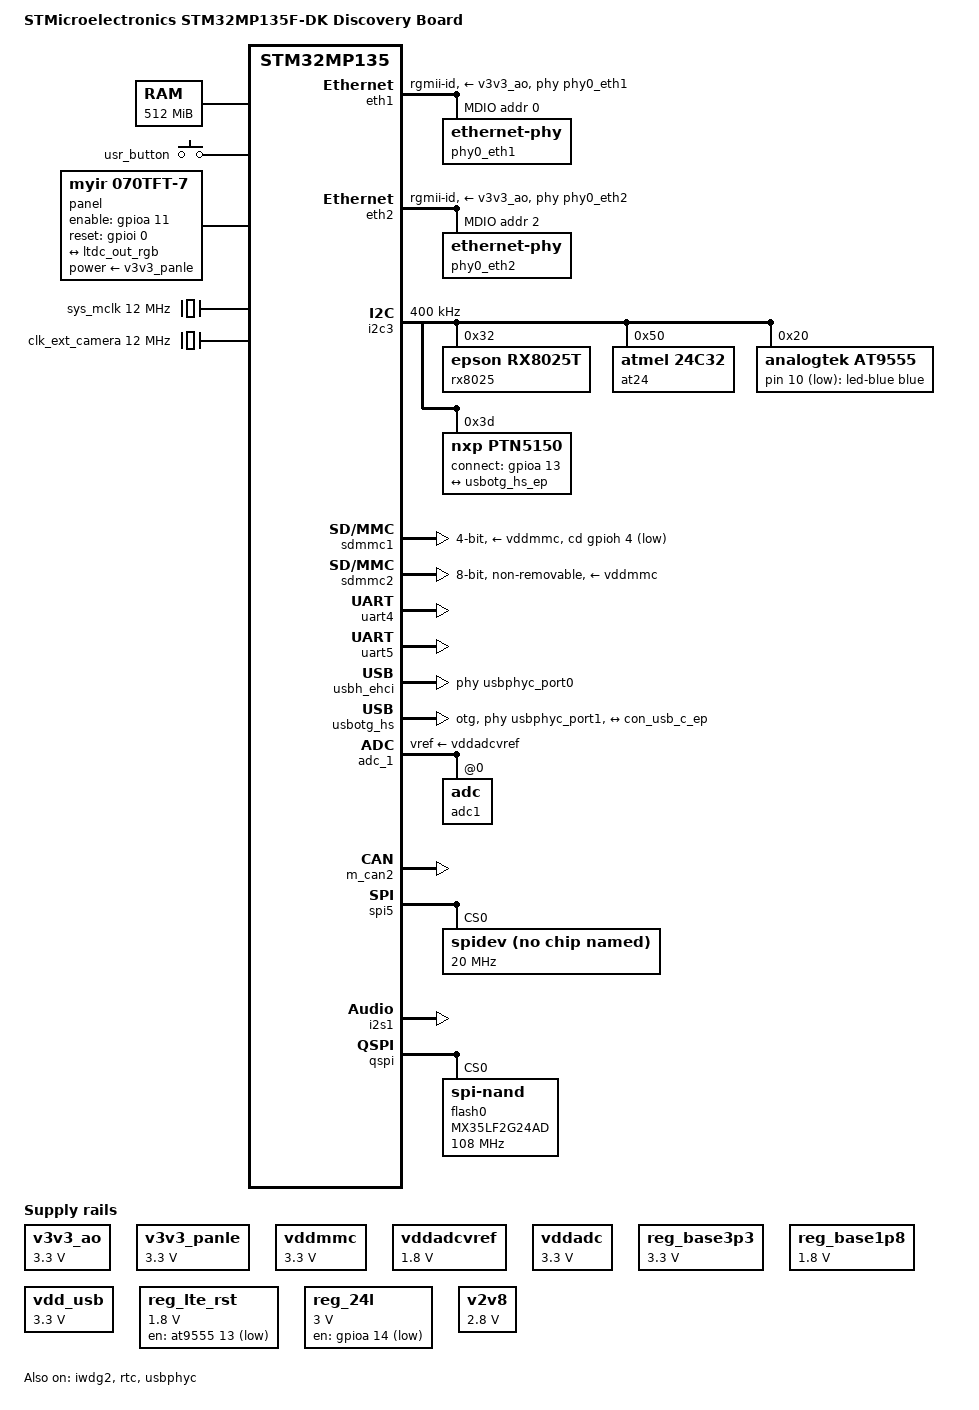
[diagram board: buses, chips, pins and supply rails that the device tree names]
// SPDX-License-Identifier: (GPL-2.0+ OR BSD-3-Clause)
/* 
 * Copyright (C) MYiRTech 2021 - All Rights Reserved
 * Author: Alex for MYiRTech.
 */

/dts-v1/;

#include <dt-bindings/gpio/gpio.h>
#include <dt-bindings/input/input.h>
#include <dt-bindings/leds/common.h>
#include <dt-bindings/rtc/rtc-stm32.h>
#include "stm32mp135.dtsi"
#include "stm32mp13xf.dtsi"
#include "myb-stm32mp13-pinctrl.dtsi"

/ {
	model = "STMicroelectronics STM32MP135F-DK Discovery Board";
	compatible = "st,stm32mp135f-dk", "st,stm32mp135";

	aliases {
		ethernet0 = &eth1;
		ethernet1 = &eth2;
		serial0 = &uart4;
		serial1 = &usart1;
		serial2 = &uart8;
		serial3 = &usart2;
		serial4 = &uart5;
	};

	chosen {
		stdout-path = "serial0:115200n8";
	};

	memory@c0000000 {
		device_type = "memory";
		reg = <0xc0000000 0x20000000>;
	};

	leds {
			compatible = "gpio-leds";
			status = "okay";
			led-blue {
					function = LED_FUNCTION_HEARTBEAT;
					color = <LED_COLOR_ID_BLUE>;
					gpios = <&at9555 10 GPIO_ACTIVE_LOW>;
					linux,default-trigger = "heartbeat";
					default-state = "off";
			};
	};

	joystick {
                compatible = "gpio-keys";
                #size-cells = <0>;
                button-0 {
                         label = "usr_button";
                         linux,code = <KEY_ENTER>;
                         interrupt-parent = <&gpioi>;
                         interrupts = <1 IRQ_TYPE_EDGE_RISING>;
                };
        };

	/*LCD Panel*/
	panel {
		compatible = "myir,070tft-7";
		pinctrl-names = "default", "sleep";
		pinctrl-0 = <&ltdc_pins_a>;
		pinctrl-1 = <&ltdc_pins_sleep_a>;

		power-supply = <&v3v3_panle>;
		enable-gpios = <&gpioa 11 GPIO_ACTIVE_HIGH>;
		reset-gpios = <&gpioi 0 GPIO_ACTIVE_HIGH>;

		//interrupts = <3 IRQ_TYPE_EDG
		//backlight = <&panel_backlight>;
		status = "okay";
		port {
				panel_in_rgb: endpoint {
						remote-endpoint = <&ltdc_out_rgb>; 
				};
		};
	};

	usb_phy_tuning: usb-phy-tuning {
		st,current-boost = <1>;
		st,hs-slew-ctrl;
		st,hs-dc-level = <2>;
		st,hs-rftime-reduction;
		st,hs-current-trim = <11>;
		st,hs-impedance-trim = <2>;
		st,squelch-level = <1>;
		st,hs-rx-gain-eq;
		st,no-hs-ftime-ctrl;
	};

	v3v3_ao: v3v3_ao {
		compatible = "regulator-fixed";
		regulator-name = "v3v3_ao";
		regulator-min-microvolt = <3300000>;
		regulator-max-microvolt = <3300000>;
		regulator-always-on;
	};

	v3v3_panle: v3v3_panle {
		compatible = "regulator-fixed";
		regulator-name = "v3v3_panle";
		regulator-min-microvolt = <3300000>;
		regulator-max-microvolt = <3300000>;
		regulator-always-on;
	};

	vddmmc: fixedregulator@0 {
		compatible = "regulator-fixed";
		regulator-name = "vddmmc";
		regulator-min-microvolt = <3300000>;
		regulator-max-microvolt = <3300000>;
	};

	vddadcvref: fixedregulator@0 {
		compatible = "regulator-fixed";
		regulator-name = "vddadcvref";
		regulator-min-microvolt = <1800000>;
		regulator-max-microvolt = <1800000>;
	};

	vddadc: fixedregulator@0 {
		compatible = "regulator-fixed";
		regulator-name = "vddadc";
		regulator-min-microvolt = <3300000>;
		regulator-max-microvolt = <3300000>;
	};

	reg_base3p3: reg-base3p3 {
		compatible = "regulator-fixed";
		regulator-name = "reg_base3p3";
		regulator-min-microvolt = <3300000>;
		regulator-max-microvolt = <3300000>;
		regulator-always-on;
		regulator-boot-on;
	};

	reg_base1p8: reg-base1p8 {
		compatible = "regulator-fixed";
		regulator-name = "reg_base1p8";
		regulator-min-microvolt = <1800000>;
		regulator-max-microvolt = <1800000>;
		regulator-always-on;
		regulator-boot-on;
	};
	
	vdd_usb: reg-vdd_usb {
		compatible = "regulator-fixed";
		regulator-name = "vdd_usb";
		regulator-min-microvolt = <3300000>;
		regulator-max-microvolt = <3300000>;
		regulator-always-on;
		regulator-boot-on;
	};

        reg_lte_rst: regulator@3 {
                compatible = "regulator-fixed";
                regulator-name = "ltemodule-rst";
                regulator-min-microvolt = <1800000>;
                regulator-max-microvolt = <1800000>;
                gpios = <&at9555 13 GPIO_ACTIVE_HIGH>;
                regulator-always-on;
                regulator-boot-on;
        };

        reg_24l: regulator@4 {
                compatible = "regulator-fixed";
                regulator-name = "24l-wp";
                regulator-min-microvolt = <3000000>;
                regulator-max-microvolt = <3000000>;
                gpios = <&gpioa 14 GPIO_ACTIVE_LOW>;
                regulator-always-on;
                regulator-boot-on;
        };

	sys_mclk: clock-mclk {
		compatible = "fixed-clock";
		#clock-cells = <0>;
		clock-frequency = <12000000>;
	};

	/*camera clock*/
	clocks {
		clk_ext_camera: clk-ext-camera {
				#clock-cells = <0>;
				compatible = "fixed-clock";
				clock-frequency = <12000000>;
		};
	
	};

	v2v8: regulator-v2v8 {
		compatible = "regulator-fixed";
		regulator-name = "v2v8";
		regulator-min-microvolt = <2800000>;
		regulator-max-microvolt = <2800000>;
		regulator-always-on;
		regulator-boot-on;
	};

};

&dma1 {
	sram = <&dma_pool>;
};

&dma2 {
	sram = <&dma_pool>;
};

&eth1 {
	status = "okay";
	pinctrl-0 = <&eth1_pins_mx>;
	pinctrl-1 = <&eth1_sleep_pins_mx>;
	pinctrl-names = "default","sleep";

	phy-mode = "rgmii-id";
	max-speed = <1000>;
	phy-handle = <&phy0_eth1>;
	st,ext-phyclk;
	st,eth-clk-sel;
	// nvmem-cells = <&ethernet_mac1_address>;
	// nvmem-cell-names = "mac-address";
	phy-supply = <&v3v3_ao>;
	// reset-gpios =  <&gpiob 10 GPIO_ACTIVE_HIGH>;
	st,phy-reset-gpios = <&gpiob 10 GPIO_ACTIVE_HIGH>;
	reset-deassert-us = <3000>;
	reset-assert-us = <3000>;
	mdio1 {
		#address-cells = <1>;
		#size-cells = <0>;
		compatible = "snps,dwmac-mdio";
		phy0_eth1: ethernet-phy@0 {	
			reg = <0>;
		};
	};
};

&eth2 {
	status = "okay";
	pinctrl-names = "default","sleep";
	pinctrl-0 = <&eth2_pins_mx>;
	pinctrl-1 = <&eth2_sleep_pins_mx>;
	phy-mode = "rgmii-id";
	max-speed = <1000>;
	phy-handle = <&phy0_eth2>;
	st,ext-phyclk;
	st,eth-clk-sel;
	phy-supply = <&v3v3_ao>;
	//reset-gpios =  <&gpioh 5 GPIO_ACTIVE_HIGH>;
	st,phy-reset-gpios =  <&gpioh 5 GPIO_ACTIVE_HIGH>;
	reset-deassert-us = <1000>;
	reset-assert-us = <1000>;
	//nvmem-cells = <&ethernet_mac2_address>;
	//nvmem-cell-names = "mac-address";
	mdio1 {
		#address-cells = <1>;
		#size-cells = <0>;
		compatible = "snps,dwmac-mdio";
		phy0_eth2: ethernet-phy@2 {
			reg = <2>;
		};
	};
};

&i2c1 {
	pinctrl-names = "default", "sleep";
	// pinctrl-0 = <&i2c1_pins_a>;
	// pinctrl-1 = <&i2c1_sleep_pins_a>;
	i2c-scl-rising-time-ns = <300>;
	i2c-scl-falling-time-ns = <300>;
	clock-frequency = <400000>;
	status = "disabled";
	/* spare dmas for other usage */
	/delete-property/dmas;
	/delete-property/dma-names;
};

&i2c2 {
	pinctrl-names = "default", "sleep";
	// pinctrl-0 = <&i2c1_pins_a>;
	// pinctrl-1 = <&i2c1_sleep_pins_a>;
	i2c-scl-rising-time-ns = <300>;
	i2c-scl-falling-time-ns = <300>;
	clock-frequency = <400000>;
	status = "disabled";
	/* spare dmas for other usage */
	/delete-property/dmas;
	/delete-property/dma-names;
};

&i2c3 {
	pinctrl-names = "default", "sleep";
	pinctrl-0 = <&i2c3_pins_a>;
	pinctrl-1 = <&i2c3_sleep_pins_a>;
	i2c-scl-rising-time-ns = <300>;
	i2c-scl-falling-time-ns = <300>;
	clock-frequency = <400000>;
	status = "okay";
	/* spare dmas for other usage */
	/delete-property/dmas;
	/delete-property/dma-names;

	rx8025: rx8025@32 {
			compatible = "epson,rx8025t";
			reg = <0x32>;
	};

        at24@50 {
                compatible = "atmel,24c32";
                pagesize = <64>;
                reg = <0x50>;
        };

	at9555: at9555@20 {
			compatible = "analogtek,at9555";
			reg = <0x20>;
			#gpio-cells = <2>;
			gpio_base = <160>;
	};

	// pcf8575: gpio@20 {
	// 		compatible = "nxp,pcf8575";
	// 		reg = <0x20>;
	// 		gpio-controller;
	// 		#gpio-cells = <2>;
	// 		interrupt-parent= <&gpioi>;
	// 		interrupts = <7 IRQ_TYPE_EDGE_FALLING>;
	// 		lines-initial-states = <0xffff>;
	// 	    interrupt-controller;
	// 		#interrupt-cells = <2>;
	// 		status = "okay";
	// };

    ptn5150: ptn5150@3d {
        compatible = "nxp,ptn5150";
        reg = <0x3d>;
        //interrupt-parent = <&gpioa>;
        //interrupts = <13 IRQ_TYPE_EDGE_FALLING>;
	connect-gpios = <&gpioa 13 GPIO_ACTIVE_HIGH>;
        connector {
            compatible = "usb-c-connector";
            label = "USB-C";
            port {
                con_usb_c_ep: endpoint {
                    remote-endpoint = <&usbotg_hs_ep>;
                };
            };
	};
    };

};

&iwdg2 {
	timeout-sec = <32>;
	status = "okay";
};

&ltdc {
	pinctrl-names = "default", "sleep";
	status = "disabled";
	port {
		#address-cells = <1>;
		#size-cells = <0>;

		ltdc_out_rgb: endpoint@0 {
			reg = <0>;
			remote-endpoint = <&panel_in_rgb>;
		};
	};
};

&rtc {
//	st,lsco = <RTC_OUT2_RMP>;
//	pinctrl-0 = <&rtc_out2_rmp_pins_a>;
//	pinctrl-names = "default";
	status = "okay";
};

&scmi0_regu {
	scmi_vddcpu: voltd-vddcpu {
		voltd-name = "vddcpu";
		regulator-name = "vddcpu";
	};
	scmi_vdd: voltd-vdd {
		voltd-name = "vdd";
		regulator-name = "vdd";
	};
	scmi_vddcore: voltd-vddcore {
		voltd-name = "vddcore";
		regulator-name = "vddcore";
	};
	scmi_vdd_adc: voltd-vdd_adc {
		voltd-name = "vdd_adc";
		regulator-name = "vdd_adc";
	};
	scmi_vdd_usb: voltd-vdd_usb {
		voltd-name = "vdd_usb";
		regulator-name = "vdd_usb";
	};
	scmi_vdd_sd: voltd-vdd_sd {
		voltd-name = "vdd_sd";
		regulator-name = "vdd_sd";
	};
	scmi_v1v8_periph: voltd-v1v8_periph {
		voltd-name = "v1v8_periph";
		regulator-name = "v1v8_periph";
	};
	scmi_v3v3_sw: voltd-v3v3_sw {
		voltd-name = "v3v3_sw";
		regulator-name = "v3v3_sw";
	};
	scmi_pwr_on_db: voltd-pwr_on_db {
		voltd-name = "pwr_on_db";
		regulator-name = "pwr_on_db";
	};
};

&sdmmc1 {
	pinctrl-names = "default", "opendrain", "sleep";
	pinctrl-0 = <&sdmmc1_b4_pins_a &sdmmc1_clk_pins_a>;
	pinctrl-1 = <&sdmmc1_b4_od_pins_a &sdmmc1_clk_pins_a>;
	pinctrl-2 = <&sdmmc1_b4_sleep_pins_a>;
	cd-gpios = <&gpioh 4 (GPIO_ACTIVE_LOW | GPIO_PULL_UP)>;
	disable-wp;
	st,neg-edge;
	bus-width = <4>;
	vmmc-supply = <&vddmmc>;
	status = "okay";
};

/*emmc*/
&sdmmc2 {
	pinctrl-names = "default", "opendrain", "sleep";
	pinctrl-0 = <&sdmmc2_b4_pins_a &sdmmc2_b4_pins_b>;
	pinctrl-1 = <&sdmmc2_b4_od_pins_a &sdmmc2_b4_od_pins_b>;
	pinctrl-2 = <&sdmmc2_b4_sleep_pins_a &sdmmc2_b4_sleep_pins_b>;

	non-removable;
	no-sd;
	no-sdio;
	st,neg-edge;
	bus-width = <8>;
	vmmc-supply = <&vddmmc>;
	vqmmc-supply = <&vddmmc>;
	mmc-ddr-3_3v;
	status = "okay";
};

&sram {
	dma_pool: dma-sram@0 {
		reg = <0x0 0x4000>;
		pool;
	};
};

&timers3 {
	/delete-property/dmas;
	/delete-property/dma-names;
	status = "disabled";
	pwm {
		pinctrl-0 = <&pwm3_pins_a>;
		pinctrl-1 = <&pwm3_sleep_pins_a>;
		pinctrl-names = "default", "sleep";
		status = "okay";
	};
	timer@2 {
		status = "okay";
	};
};

&uart4 {
	pinctrl-names = "default", "sleep", "idle";
	pinctrl-0 = <&uart4_pins_a>;
	pinctrl-1 = <&uart4_sleep_pins_a>;
	pinctrl-2 = <&uart4_idle_pins_a>;
	/delete-property/dmas;
	/delete-property/dma-names;
	status = "okay";
};

&uart5 {
	pinctrl-names = "default", "sleep", "idle";
	pinctrl-0 = <&uart5_pins_a>;
	pinctrl-1 = <&uart5_sleep_pins_a>;
	pinctrl-2 = <&uart5_idle_pins_a>;
	// /delete-property/dmas;
	// /delete-property/dma-names;
	status = "okay";
};

&usbh_ehci {
	phys = <&usbphyc_port0>;
	status = "okay";
};

// &usbh_ohci {
// 	phys = <&usbphyc_port0>;
// 	status = "okay";
// };

&usbotg_hs {
	phys = <&usbphyc_port1 0>;
	phy-names = "usb2-phy";
	usb-role-switch;
	dr_mode = "otg";

	hnp-disable;
	srp-disable;
	adp-disable;

	status = "okay";
	port {
		usbotg_hs_ep: endpoint {
			remote-endpoint = <&con_usb_c_ep>;
		};
	};
};

&usbphyc {
	status = "okay";
};

&usbphyc_port0 {
	phy-supply = <&vdd_usb>;
	st,phy-tuning = <&usb_phy_tuning>;
};

&usbphyc_port1 {
	phy-supply = <&vdd_usb>;
	st,phy-tuning = <&usb_phy_tuning>;
};

&adc_1 {
	pinctrl-names = "default";
	pinctrl-0 = <&adc1_usb_cc_pins_a>;
	vdda-supply = <&vddadc>;
	vref-supply = <&vddadcvref>;
	status = "okay";

	// adc1: adc@0 {
	// 	/*
	// 	 * Type-C USB_PWR_CC1 & USB_PWR_CC2 on in6 & in12.
	// 	 * Use at least 5 * RC time, e.g. 5 * (Rp + Rd) * C:
	// 	 * 5 * (5.1 + 47kOhms) * 5pF => 1.3us.
	// 	 * Use arbitrary margin here (e.g. 5us).
	// 	 */
	// 	st,min-sample-time-nsecs = <5000>;
	// 	/* USB Type-C CC1 & CC2 */
	// 	st,adc-channels = <6 12>;
	// 	status = "disabled";
	// };

	adc1: adc@0 {
					st,min-sample-time-nsecs = <10000>;
					st,adc-channels = <2 8>;
					status = "okay";
	};

};

/*DCMI for camera*/
&dcmipp {
        pinctrl-names = "default", "sleep";
        pinctrl-0 = <&dcmiapp_pins_mx>;
        pinctrl-1 = <&dcmiapp_sleep_pins_mx>;
	status = "disabled";
		
		// /delete-property/dmas;
		// /delete-property/dma-names;

       // port {
       //         dcmi_0: endpoint {
       //                 remote-endpoint = <&ov5640>;
       //                 bus-width = <8>;
       // 					data-shift = <2>; /* lines 9:2 are used */
       //                 hsync-active = <0>;
       //                 vsync-active = <0>;
       //                 pclk-sample = <1>;
       //                 // pclk-max-frequency = <77000000>;
       //         };
       // };
};

&m_can2 {
	compatible = "bosch,m_can";
        pinctrl-names = "default";
        pinctrl-0 = <&m_can2_pins_a>;
        status = "okay";
};

&spi5 {
	pinctrl-names = "default", "sleep";
	pinctrl-0 = <&spi5_pins_a>;
	pinctrl-1 = <&spi5_sleep_pins_a>;
	status = "okay";
	spidev@0 {
		compatible = "rohm,dh2228fv";
		cs-gpios = <&gpioi 3 0>;
		spi-max-frequency = <20000000>;
		reg = <0>;
	};
};

#if 1
&i2s1 {
	#clock-cells = <0>;
	clocks = <&rcc SPI1>, <&rcc SPI1_K>, <&scmi0_clk CK_SCMI0_PLL3_Q>, <&scmi0_clk CK_SCMI0_PLL3_R>;
        clock-names = "pclk", "i2sclk", "x8k", "x11k";
        pinctrl-names = "default", "sleep";
        pinctrl-0 = <&i2s1_pins_mx>;
        pinctrl-1 = <&i2s1_sleep_pins_mx>;
        status = "okay";
 
        // i2s1_port: port {
        //         i2s1_endpoint: endpoint {
        //                 remote-endpoint = <&sgtl5000_endpoint>;
        //                 format = "i2s";
        //                 mclk-fs = <256>;
        //         };
        // };
};
#endif 

#if 0
&i2s1 {
		clocks = <&rcc SPI1>, <&rcc SPI1_K>, <&scmi0_clk CK_SCMI0_PLL3_Q>, <&scmi0_clk CK_SCMI0_PLL3_R>;
        clock-names = "pclk", "i2sclk", "x8k", "x11k";
        pinctrl-names = "default", "sleep";
        pinctrl-0 = <&i2s1_pins_mx>;
        pinctrl-1 = <&i2s1_sleep_pins_mx>;
        status = "okay";

        i2s1_port: port {
               i2s1_tx_endpoint: endpoint@0 {
                       remote-endpoint = <&sgtl5000_tx_endpoint>;
                       format = "i2s";
                       mclk-fs = <256>;
               };

               i2s1_rx_endpoint: endpoint@1 {
                       remote-endpoint = <&sgtl5000_rx_endpoint>;
                       format = "i2s";
                       mclk-fs = <256>;
               };
    
        };

};
#endif 

&qspi {
        pinctrl-names = "default", "sleep";
        pinctrl-0 = <&quadspi_pins_mx>;
        pinctrl-1 = <&quadspi_sleep_pins_mx>;
        reg = <0x58003000 0x1000>,
              <0x70000000 0x4000000>;
        #address-cells = <1>;
        #size-cells = <0>;
        status = "okay";

        flash0: MX35LF2G24AD@0 {
                compatible = "spi-nand";
                reg = <0>;
                spi-rx-bus-width = <4>;
                spi-max-frequency = <108000000>;
                #address-cells = <1>;
                #size-cells = <1>;
        };
};
